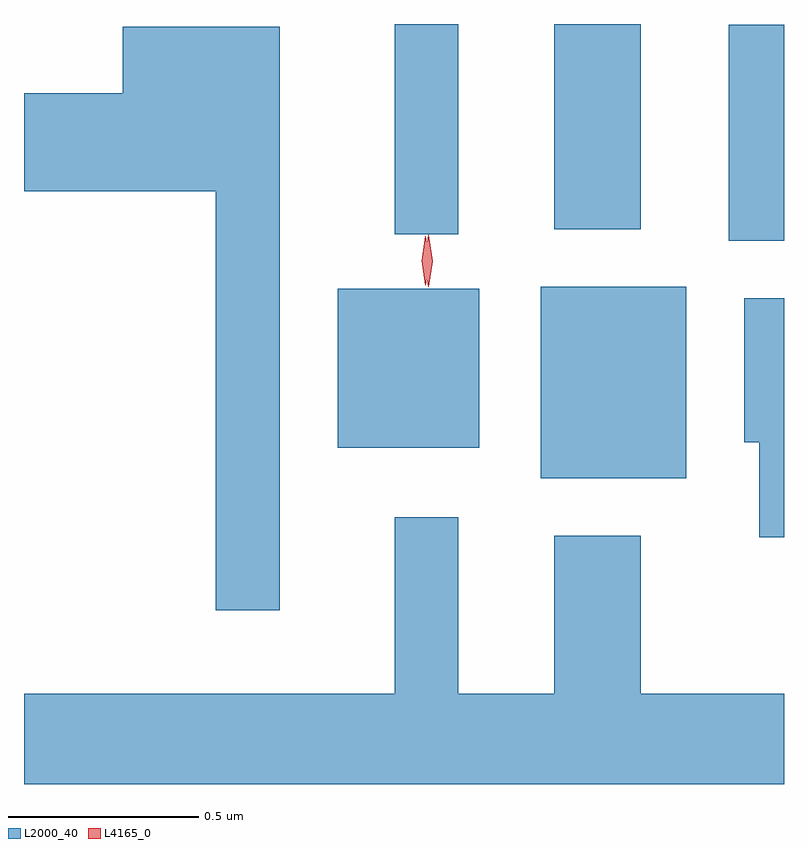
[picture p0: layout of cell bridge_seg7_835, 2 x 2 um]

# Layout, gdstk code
import gdstk
lib = gdstk.Library(unit=1e-6, precision=1e-09)
def R(c, l, rs):  # rectangles x0, y0, x1, y1
    for r in rs: c.add(gdstk.rectangle(r[:2], r[2:], *l))
def P(c, l, *ps):  # polygons
    for p in ps: c.add(gdstk.Polygon(p, *l))
L2000_40 = (2000, 40)
L4165_0 = (4165, 0)

bridge_seg7_835 = lib.new_cell('bridge_seg7_835')
R(bridge_seg7_835, L2000_40, [(378.826,1752.891,379.209,1753.394), (378.291,1752.971,378.664,1753.389), (379.321,1753.516,379.466,1754.084), (378.441,1753.533,378.609,1754.086), (378.861,1753.546,379.089,1754.086)])
P(bridge_seg7_835, L2000_40, [(378.139,1754.079),(377.726,1754.079),(377.726,1753.904),(377.466,1753.904),(377.466,1753.646),(377.971,1753.646),(377.971,1752.543),(378.139,1752.543)],
  [(379.466,1753.364),(379.361,1753.364),(379.361,1752.986),(379.401,1752.986),(379.401,1752.736),(379.466,1752.736)],
  [(379.466,1752.324),(379.089,1752.324),(379.089,1752.739),(378.861,1752.739),(378.861,1752.324),(378.609,1752.324),(378.609,1752.788),(378.441,1752.788),(378.441,1752.324),(377.466,1752.324),(377.466,1752.086),(379.466,1752.086)])
P(bridge_seg7_835, L4165_0, [(378.53,1753.394),(378.521,1753.462),(378.53,1753.53),(378.531,1753.531),(378.531,1753.53),(378.541,1753.462),(378.531,1753.394),(378.531,1753.394)],
  [(378.522,1753.398),(378.513,1753.463),(378.522,1753.527),(378.523,1753.527),(378.523,1753.527),(378.533,1753.463),(378.523,1753.398),(378.523,1753.398)])

lib.write_gds('bridge_seg7_835.gds')
